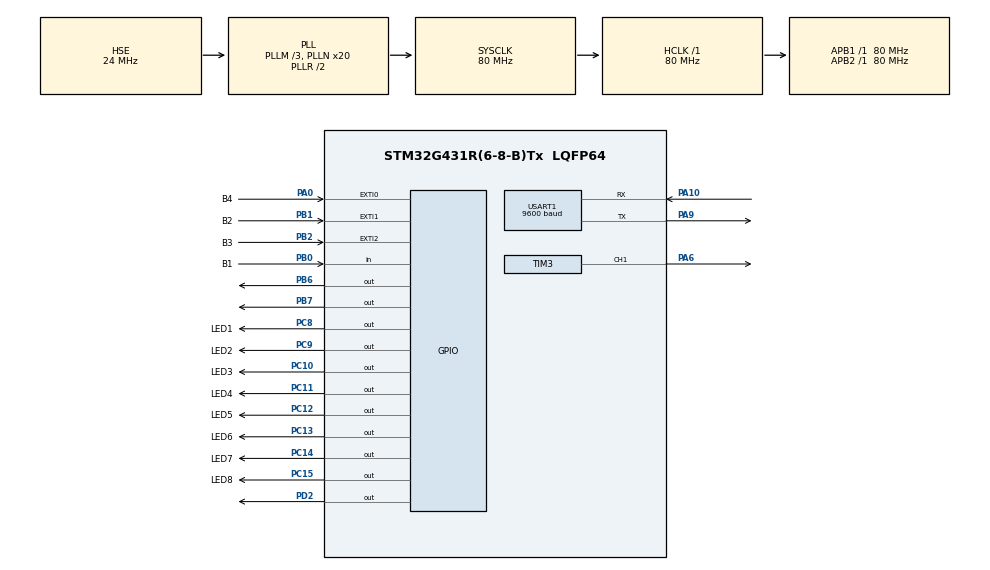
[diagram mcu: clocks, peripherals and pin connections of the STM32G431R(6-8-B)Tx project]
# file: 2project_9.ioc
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Mcu.Family=STM32G4
Mcu.Name=STM32G431R(6-8-B)Tx
Mcu.Package=LQFP64
NVIC.EXTI0_IRQn=true\:0\:0\:false\:false\:true\:true\:true
NVIC.EXTI1_IRQn=true\:0\:0\:false\:false\:true\:true\:true
NVIC.EXTI2_IRQn=true\:0\:0\:false\:false\:true\:true\:true
NVIC.PriorityGroup=NVIC_PRIORITYGROUP_4
NVIC.TIM1_UP_TIM16_IRQn=true\:0\:0\:false\:false\:true\:true\:true
PA0.GPIO_Label=B4
PA0.GPIO_ModeDefaultEXTI=GPIO_MODE_IT_FALLING
PA0.Signal=GPXTI0
PA10.Mode=Asynchronous
PA10.Signal=USART1_RX
PA6.Signal=S_TIM3_CH1
PA9.Mode=Asynchronous
PA9.Signal=USART1_TX
PB0.GPIO_Label=B1
PB0.Signal=GPIO_Input
PB1.GPIO_Label=B2
PB1.GPIO_ModeDefaultEXTI=GPIO_MODE_IT_FALLING
PB1.Signal=GPXTI1
PB2.GPIO_Label=B3
PB2.GPIO_ModeDefaultEXTI=GPIO_MODE_IT_FALLING
PB2.Signal=GPXTI2
PB6.Signal=GPIO_Output
PB7.Signal=GPIO_Output
PC10.GPIO_Label=LED3
PC10.Signal=GPIO_Output
PC11.GPIO_Label=LED4
PC11.Signal=GPIO_Output
PC12.GPIO_Label=LED5
PC12.Signal=GPIO_Output
PC13.GPIO_Label=LED6
PC13.Signal=GPIO_Output
PC14-OSC32_IN.GPIO_Label=LED7
PC14-OSC32_IN.Signal=GPIO_Output
PC15-OSC32_OUT.GPIO_Label=LED8
PC15-OSC32_OUT.Signal=GPIO_Output
PC8.GPIO_Label=LED1
PC8.Signal=GPIO_Output
PC9.GPIO_Label=LED2
PC9.Signal=GPIO_Output
PD2.Signal=GPIO_Output
PF0-OSC_IN.Mode=HSE-External-Oscillator
PF0-OSC_IN.Signal=RCC_OSC_IN
PF1-OSC_OUT.Mode=HSE-External-Oscillator
PF1-OSC_OUT.Signal=RCC_OSC_OUT
ProjectManager.HeapSize=0x200
ProjectManager.StackSize=0x400
ProjectManager.TargetToolchain=MDK-ARM V5.32
RCC.ADC12Freq_Value=80000000
RCC.AHBFreq_Value=80000000
RCC.APB1Freq_Value=80000000
RCC.APB1TimFreq_Value=80000000
RCC.APB2Freq_Value=80000000
RCC.APB2TimFreq_Value=80000000
RCC.CortexFreq_Value=80000000
RCC.EXTERNAL_CLOCK_VALUE=12288000
RCC.HCLKFreq_Value=80000000
RCC.HSE_VALUE=24000000
RCC.HSI48_VALUE=48000000
RCC.HSI_VALUE=16000000
RCC.LSE_VALUE=32768
RCC.PLLM=RCC_PLLM_DIV3
RCC.PLLN=20
RCC.PLLSourceVirtual=RCC_PLLSOURCE_HSE
RCC.SYSCLKFreq_VALUE=80000000
RCC.SYSCLKSource=RCC_SYSCLKSOURCE_PLLCLK
RCC.USBFreq_Value=80000000
RCC.VCOOutputFreq_Value=160000000
SH.S_TIM3_CH1.0=TIM3_CH1,PWM Generation1 CH1
TIM1.AutoReloadPreload=TIM_AUTORELOAD_PRELOAD_ENABLE
TIM1.PeriodNoDither=10000-1
TIM1.Prescaler=80-1
TIM3.AutoReloadPreload=TIM_AUTORELOAD_PRELOAD_ENABLE
TIM3.Channel-PWM\ Generation1\ CH1=TIM_CHANNEL_1
TIM3.PeriodNoDither=1000-1
TIM3.Prescaler=80-1
TIM3.PulseNoDither_1=800
USART1.BaudRate=9600
USART1.VirtualMode-Asynchronous=VM_ASYNC
VP_SYS_VS_DBSignals.Mode=DisableDeadBatterySignals
VP_TIM1_VS_ClockSourceINT.Mode=Internal
VP_TIM3_VS_ClockSourceINT.Mode=Internal
board=custom

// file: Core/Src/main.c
/* USER CODE BEGIN Header */
/**
  ******************************************************************************
  * @file           : main.c
  * @brief          : Main program body
  ******************************************************************************
  * @attention
  *
  * <h2><center>&copy; Copyright (c) 2022 STMicroelectronics.
  * All rights reserved.</center></h2>
  *
  * This software component is licensed by ST under BSD 3-Clause license,
  * the "License"; You may not use this file except in compliance with the
  * License. You may obtain a copy of the License at:
  *                        opensource.org/licenses/BSD-3-Clause
  *
  ******************************************************************************
  */
/* USER CODE END Header */
#include "main.h"
#include "tim.h"
#include "usart.h"
#include "gpio.h"

/* USER CODE BEGIN Includes */
#include "lcd.h"
#include "stdio.h"
#include "i2c_hal.h"
/* USER CODE END Includes */

/* USER CODE BEGIN PTD */
typedef struct
{
	uint8_t hour;
	uint8_t minite;
	uint8_t second;
	uint8_t T_second;
	uint16_t Long;
	uint32_t TimeTotal;
	uint8_t TimeLED;

}Timtypedef;

	Timtypedef T = {0,1,55,100,0,115,25};

typedef struct
{
	uint8_t Key;
	uint8_t Key_Long;
	uint8_t Key_Short;
	uint8_t EEPROM;
	uint8_t KeyB2;

}Flagtypedef;

	Flagtypedef Flag = {0,0,0,1,1};
/* USER CODE END PTD */

/* USER CODE BEGIN PD */
#define B1 !HAL_GPIO_ReadPin(GPIOB,B1_Pin)
#define B2 !HAL_GPIO_ReadPin(GPIOB,B2_Pin)
#define B3 !HAL_GPIO_ReadPin(GPIOB,B3_Pin)
#define B4 !HAL_GPIO_ReadPin(GPIOA,B4_Pin)
#define Running 1
#define Standby 2
#define Setting 3
#define Pause 4

/* USER CODE END PD */

/* USER CODE BEGIN PV */
uint8_t str[50];
uint8_t State = 1;
uint8_t Time = 0;//定时器专用
/* USER CODE END PV */

void SystemClock_Config(void);

/* USER CODE BEGIN 0 */

//重定向函数
int fputc(int ch,FILE *stream)
{
	while(!(USART1->ISR & (1<<7)));
	USART1->TDR = (uint8_t)ch;
	return ch;
}

//时间计算
void Cal_Time(void)
{
	T.TimeTotal = (T.hour*3600) + (T.minite*60) + T.second;
}

//EEPROM写函数
void EEPROM_W(void)
{
	if(Flag.Key_Long == 2)
	{
		Flag.Key_Long = 0;
		switch (Flag.EEPROM)
		{
			case 1:
				EEPROM_Write(0x00,T.hour);
				HAL_Delay(10);
				EEPROM_Write(0x01,T.minite);
				HAL_Delay(10);
				EEPROM_Write(0x02,T.second);
				HAL_Delay(10);
				break;
			case 2:
				EEPROM_Write(0x03,T.hour);
				HAL_Delay(10);
				EEPROM_Write(0x04,T.minite);
				HAL_Delay(10);
				EEPROM_Write(0x05,T.second);
				HAL_Delay(10);
				break;
			case 3:
				EEPROM_Write(0x06,T.hour);
				HAL_Delay(10);
				EEPROM_Write(0x07,T.minite);
				HAL_Delay(10);
				EEPROM_Write(0x08,T.second);
				HAL_Delay(10);
				break;
			case 4:
				EEPROM_Write(0x10,T.hour);
				HAL_Delay(10);
				EEPROM_Write(0x11,T.minite);
				HAL_Delay(10);
				EEPROM_Write(0x12,T.second);
				HAL_Delay(10);
				break;
			case 5:
				EEPROM_Write(0x13,T.hour);
				HAL_Delay(10);
				EEPROM_Write(0x14,T.minite);
				HAL_Delay(10);
				EEPROM_Write(0x15,T.second);
				HAL_Delay(10);
				break;
		}
		printf("EEPROM_Weite OK!\r\n");
	}
}

//EEPROM读函数
void EEPROM_R(void)
{
	switch (Flag.EEPROM)
	{
		case 1:
			T.hour =  EEPROM_Read(0x00);
			T.minite = EEPROM_Read(0x01);
			T.second = EEPROM_Read(0x02);
			break;
		case 2:
			T.hour =  EEPROM_Read(0x03);
			T.minite = EEPROM_Read(0x04);
			T.second = EEPROM_Read(0x05);
			break;
		case 3:
			T.hour =  EEPROM_Read(0x06);
			T.minite = EEPROM_Read(0x07);
			T.second = EEPROM_Read(0x08);
			break;
		case 4:
			T.hour =  EEPROM_Read(0x10);
			T.minite = EEPROM_Read(0x11);
			T.second = EEPROM_Read(0x12);
			break;
		case 5:
			T.hour =  EEPROM_Read(0x13);
			T.minite = EEPROM_Read(0x14);
			T.second = EEPROM_Read(0x15);
			break;
	}
	Cal_Time();
}

//LED闪烁函数
void LED_BL(void)
{
	if(State == Running)
	{
		HAL_GPIO_WritePin(GPIOC,LED2_Pin|LED3_Pin|LED4_Pin|LED5_Pin|LED6_Pin|LED7_Pin|LED8_Pin,GPIO_PIN_SET);
		HAL_GPIO_TogglePin(GPIOC,LED1_Pin);
		HAL_GPIO_WritePin(GPIOD,GPIO_PIN_2,GPIO_PIN_SET);
		HAL_GPIO_WritePin(GPIOD,GPIO_PIN_2,GPIO_PIN_RESET);
	}
}
//LCD显示函数
void LCD_Show(void)
{
	switch (Flag.KeyB2)
	{
		case 1:
			sprintf((char*)str,"    ->%d: %d: %d    ",T.hour,T.minite,T.second);
			LCD_DisplayStringLine(Line4,str);
			break;
		case 2:
			sprintf((char*)str,"     %d: ->%d: %d   ",T.hour,T.minite,T.second);
			LCD_DisplayStringLine(Line4,str);
			break;
		case 3:
			sprintf((char*)str,"     %d: %d: ->%d   ",T.hour,T.minite,T.second);
			LCD_DisplayStringLine(Line4,str);
			break;
	}

	switch (State)
	{
		case Running:
			LCD_DisplayStringLine(Line7,(uint8_t*)"       Runing     ");
			break;
		case Standby:
			LCD_DisplayStringLine(Line7,(uint8_t*)"       Standby     ");
			break;
		case Setting:
			LCD_DisplayStringLine(Line7,(uint8_t*)"       Setting     ");
			break;
		case Pause:
			LCD_DisplayStringLine(Line7,(uint8_t*)"       Pause     ");
			break;
	}
}
//时间计算规则函数
void CALTime(void)
{
	if(State == Setting)
	{
		if(Flag.Key_Short == 3)
		{
			Flag.Key_Short = 0;
			switch (Flag.KeyB2)
			{
				case 1:
					if(++T.hour == 24)
						T.hour = 0;
					break;
				case 2:
					if(++T.minite == 60)
						T.minite = 0;
					break;
				case 3:
					if(++T.second == 60)
						T.second = 0;
					break;
			}
		}
		else if(Flag.Key_Short == 4)
		{
			Flag.Key_Short = 0;
			switch (Flag.KeyB2)
			{
				case 1:
					if(--T.hour == 255)
						T.hour = 23;
					break;
				case 2:
					if(--T.minite == 255)
						T.minite = 59;
					break;
				case 3:
					if(--T.second == 255)
						T.second = 59;
					break;
			}
		}
	}
}
//定时器回调函数
void HAL_TIM_PeriodElapsedCallback(TIM_HandleTypeDef *htim)
{
	if(htim->Instance == htim1.Instance)
	{
		if(State == Running)
		{
			HAL_TIM_PWM_Start(&htim3,TIM_CHANNEL_1);
			__HAL_TIM_SetCompare(&htim3,TIM_CHANNEL_1,800);
			if(--T.T_second == 0)
			{
				T.TimeTotal--;
				T.T_second = 100;
				T.second--;
				if(T.second == 0)
				{
					if(T.minite == 0)
					{
						if(T.hour == 0)
						{
							State = Standby;
						}else
						{
							T.hour--;
							T.minite = 59;
						}
					}else
					{
						T.minite--;
						T.second = 59;
					}
				}

				if(T.TimeTotal == 0)
				{
					State = Standby;
				}
			}
		}else
		{
			HAL_TIM_PWM_Stop(&htim3,TIM_CHANNEL_1);

		}

		if(Flag.Key)
		{
			if(T.Long)
			{
				T.Long--;
			}else
			{
				if(B2)//检测如果B2还处于按下状态，则为长按
				{
					Flag.Key_Long = 2;
					printf("B2_Long_Down!\r\n");
					Flag.Key = 0;
					T.Long = 0;
				}else if(B3)//一个边沿检测无法检测到松手，不适合需要检测松手的长按
				{
					Flag.Key_Long = 3;
					printf("B3_Long_Down!\r\n");
					Flag.Key = 0;
					T.Long = 0;

					printf("B3_Up\r\n");
					Flag.Key_Long = 0;
				}else if(B4)
				{
					Flag.Key_Long = 4;
					printf("B4_Long_Down!\r\n");
					Flag.Key = 0;
					T.Long = 0;
					State = Standby;
				}
				//否则清除标志位，如果在清除之前又有一次按下触发中断，则为双击
				else
				{
					Flag.Key = 0;
					T.Long = 0;
				}
			}
		}

		if(--T.TimeLED == 0)
		{
			LED_BL();
		}
	}
}

uint32_t Flag_Key1 = 0;
uint32_t Flag_Key2 = 0;

//按键中断回调函数
void HAL_GPIO_EXTI_Callback(uint16_t GPIO_Pin)
{
	switch (GPIO_Pin)
	{
		case B2_Pin:
			printf("B2_Down!\r\n");
			Flag.Key = 1;
			T.Long = 80;
			State = Setting;
			if(++Flag.KeyB2 == 4)
			{
				Flag.KeyB2 = 1;
			}
			break;
		case B3_Pin:
			printf("B3_Down!\r\n");
			Flag.Key_Short = 3;
			Flag.Key = 1;
			T.Long = 80;
			CALTime();
			break;
		case B4_Pin:
			printf("B4_Down!\r\n");
			Flag.Key_Short = 4;
			Flag.Key = 1;
			T.Long = 80;
			CALTime();
			if(State == Running)
			{
				State = Pause;
			}
			else if(State == Pause | State == Setting | State == Standby)
			{
				State = Running;
			}
			break;
	}
}

/* USER CODE END 0 */

int main(void)
{

  /* MCU Configuration--------------------------------------------------------*/

  /* Reset of all peripherals, Initializes the Flash interface and the Systick. */
  HAL_Init();

  /* Configure the system clock */
  SystemClock_Config();

  /* Initialize all configured peripherals */
  MX_GPIO_Init();
  MX_TIM1_Init();
  MX_TIM3_Init();
  MX_USART1_UART_Init();
  /* USER CODE BEGIN 2 */
	I2CInit();

	LCD_Init();
	LCD_Clear(Black);
	LCD_SetBackColor(Black);
	LCD_SetTextColor(White);

	sprintf((char*)str,"  NO %d       ",Flag.EEPROM);
	LCD_DisplayStringLine(Line1,str);

	T.hour =  EEPROM_Read(0x00);
	T.minite = EEPROM_Read(0x01);
	T.second = EEPROM_Read(0x02);

	printf("USART OK!\r\n");
	HAL_TIM_Base_Start_IT(&htim1);

  /* USER CODE END 2 */

  /* Infinite loop */
  /* USER CODE BEGIN WHILE */
  while (1)
  {
		if(B1)
		{
			HAL_Delay(10);
			while(B1);
			printf("B1_Down!\r\n");
			if(++Flag.EEPROM == 6)
				Flag.EEPROM = 1;

			EEPROM_R();
			sprintf((char*)str,"  NO %d       ",Flag.EEPROM);
			LCD_DisplayStringLine(Line1,str);
		}

		EEPROM_W();
		LCD_Show();
    /* USER CODE END WHILE */

  }
}

void SystemClock_Config(void)
{
  RCC_OscInitTypeDef RCC_OscInitStruct = {0};
  RCC_ClkInitTypeDef RCC_ClkInitStruct = {0};
  RCC_PeriphCLKInitTypeDef PeriphClkInit = {0};

  /** Configure the main internal regulator output voltage
  */
  HAL_PWREx_ControlVoltageScaling(PWR_REGULATOR_VOLTAGE_SCALE1);
  /** Initializes the RCC Oscillators according to the specified parameters
  * in the RCC_OscInitTypeDef structure.
  */
  RCC_OscInitStruct.OscillatorType = RCC_OSCILLATORTYPE_HSE;
  RCC_OscInitStruct.HSEState = RCC_HSE_ON;
  RCC_OscInitStruct.PLL.PLLState = RCC_PLL_ON;
  RCC_OscInitStruct.PLL.PLLSource = RCC_PLLSOURCE_HSE;
  RCC_OscInitStruct.PLL.PLLM = RCC_PLLM_DIV3;
  RCC_OscInitStruct.PLL.PLLN = 20;
  RCC_OscInitStruct.PLL.PLLP = RCC_PLLP_DIV2;
  RCC_OscInitStruct.PLL.PLLQ = RCC_PLLQ_DIV2;
  RCC_OscInitStruct.PLL.PLLR = RCC_PLLR_DIV2;
  if (HAL_RCC_OscConfig(&RCC_OscInitStruct) != HAL_OK)
  {
    Error_Handler();
  }
  /** Initializes the CPU, AHB and APB buses clocks
  */
  RCC_ClkInitStruct.ClockType = RCC_CLOCKTYPE_HCLK|RCC_CLOCKTYPE_SYSCLK
                              |RCC_CLOCKTYPE_PCLK1|RCC_CLOCKTYPE_PCLK2;
  RCC_ClkInitStruct.SYSCLKSource = RCC_SYSCLKSOURCE_PLLCLK;
  RCC_ClkInitStruct.AHBCLKDivider = RCC_SYSCLK_DIV1;
  RCC_ClkInitStruct.APB1CLKDivider = RCC_HCLK_DIV1;
  RCC_ClkInitStruct.APB2CLKDivider = RCC_HCLK_DIV1;

  if (HAL_RCC_ClockConfig(&RCC_ClkInitStruct, FLASH_LATENCY_2) != HAL_OK)
  {
    Error_Handler();
  }
  /** Initializes the peripherals clocks
  */
  PeriphClkInit.PeriphClockSelection = RCC_PERIPHCLK_USART1;
  PeriphClkInit.Usart1ClockSelection = RCC_USART1CLKSOURCE_PCLK2;
  if (HAL_RCCEx_PeriphCLKConfig(&PeriphClkInit) != HAL_OK)
  {
    Error_Handler();
  }
}

void Error_Handler(void)
{
  __disable_irq();
  while (1)
  {
  }
}

/************************ (C) COPYRIGHT STMicroelectronics *****END OF FILE****/
